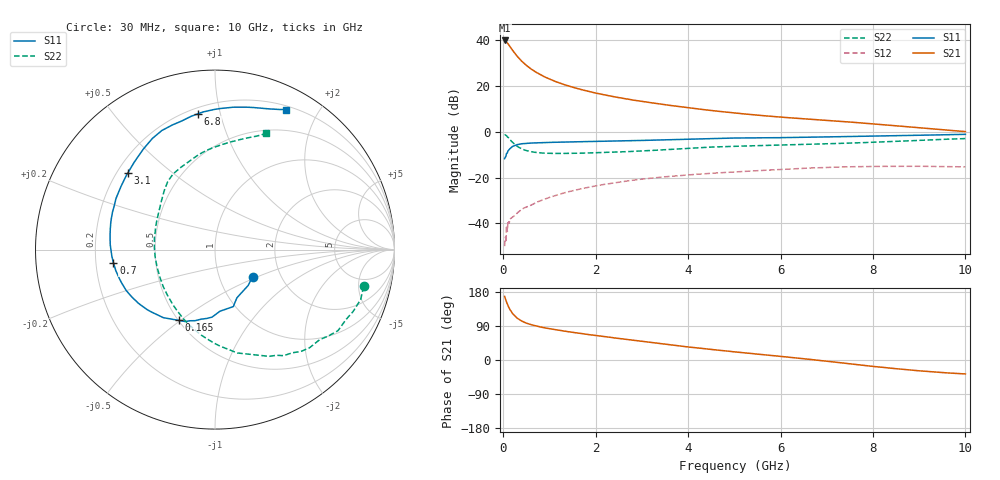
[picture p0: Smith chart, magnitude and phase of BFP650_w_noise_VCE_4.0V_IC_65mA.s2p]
! Infineon Technologies  Discrete & RF Semiconductors
! BFP650
! VCE =  4.0 V,  IC =  65 mA
! Common Emitter S-Parameters:  Jan 2016
# GHz  S  MA  R  50
!  f  S11  S21  S12  S22
! GHz  MAG  ANG  MAG  ANG  MAG  ANG  MAG  ANG
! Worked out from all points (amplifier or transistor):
!   229 points, 30 MHz to 10 GHz, reference 50 ohm
!   highest |S21| = 39.7 dB at 30 MHz (marker M1)
!   |S21| within 3 dB of that: start of sweep to 157.6 MHz
!   unconditionally stable (mu >= 1): 1.542 GHz to end of sweep
!   at 280 MHz: K = 0.56, MSG = 34.6 dB, |S12| = -35.9 dB
!   at 1.78 GHz: K = 1.01, MAG = 20.5 dB, |S12| = -24.5 dB
!   at 10 GHz: K = 1.03, MAG = 6.7 dB, |S12| = -15.3 dB
!   lowest NFmin = 1.11 dB at 450 MHz
!   S11 on the Smith chart (normalised r, x): 30 MHz: 1.44, -0.47; 165 MHz: 0.50, -0.49; 700 MHz: 0.27, -0.06; 3.1 GHz: 0.24, +0.36; 6.8 GHz: 0.24, +0.86; 10 GHz: 0.24, +1.60
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0.03  0.2583 -36.0  97.05 167.8  0.0032 68.7  0.8528 -13.9
0.04  0.2722 -47.1  96.25 163.9  0.0047 61.9  0.8581 -18.9
0.05  0.2813 -57.8  93.75 160.2  0.0051 39.3  0.8427 -24.3
0.07  0.3335 -72.2  90.37 153.5  0.009 78.9  0.8206 -33.4
0.1  0.3767 -92.5  83.17 144.3  0.0103 66.2  0.7594 -46.1
0.13  0.4108 -105.5  75.22 136.5  0.0101 60.2  0.7039 -57.1
0.165  0.4433 -117.2  67.06 129.7  0.0129 52.4  0.6395 -67.1
0.2  0.4758 -127.1  59.73 122.8  0.0137 50.3  0.5892 -77.8
0.24  0.4959 -135.4  52.72 117.4  0.0146 56.0  0.5393 -86.8
0.3  0.5206 -144.8  44.15 110.6  0.0169 54.0  0.4824 -99.2
0.34  0.5311 -149.5  39.71 107.3  0.0182 54.4  0.4551 -105.7
0.4  0.5448 -155.4  34.3 102.8  0.0202 54.5  0.4231 -114.8
0.5  0.5559 -162.6  27.83 97.3  0.0226 55.2  0.3876 -126.9
0.7  0.5705 -172.5  19.98 89.9  0.0282 57.2  0.354 -144.8
1.1  0.5865 175.1  12.7 80.6  0.0397 57.2  0.3361 -167.3
1.7  0.6045 162.0  8.198 69.7  0.0573 54.7  0.3399 172.8
3.1  0.6468 138.7  4.412 47.9  0.0947 41.0  0.3837 143.5
3.4  0.6584 134.2  3.992 43.5  0.1015 37.5  0.399 138.9
5.1  0.7275 113.1  2.497 20.4  0.1342 20.1  0.4837 117.9
6.8  0.7629 97.0  1.823 -0.5  0.1634 3.1  0.5378 99.3
8.4  0.8125 77.6  1.368 -21.8  0.1755 -14.6  0.6089 81.1
10  0.8749 63.1  1.004 -36.8  0.171 -27.4  0.7061 66.4
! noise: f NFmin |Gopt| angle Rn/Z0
0.45  1.11  0.47  -171  0.06
0.9  1.13  0.48  -166  0.06
1.9  1.27  0.5  -151  0.07
2.4  1.35  0.48  -142  0.09
3.5  1.56  0.5  -118  0.16
